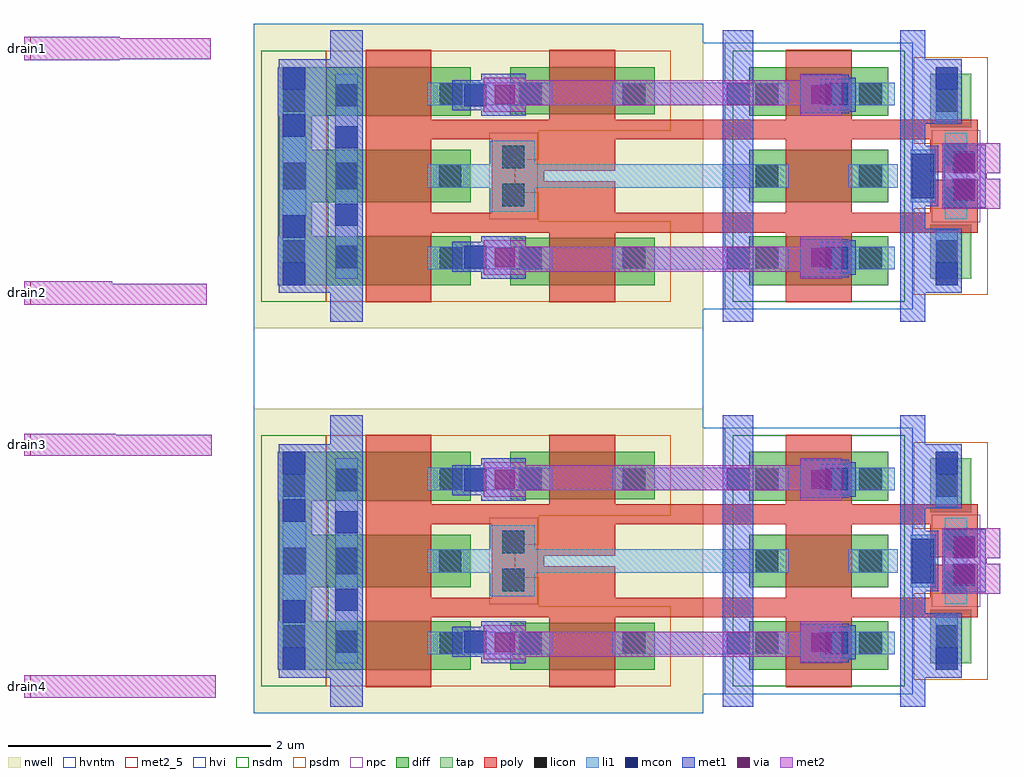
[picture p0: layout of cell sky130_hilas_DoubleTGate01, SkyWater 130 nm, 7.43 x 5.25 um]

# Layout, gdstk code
import gdstk
lib = gdstk.Library(unit=1e-6, precision=1e-09)
def R(c, l, rs):  # rectangles x0, y0, x1, y1
    for r in rs: c.add(gdstk.rectangle(r[:2], r[2:], *l))
nwell = (64, 20)
diff = (65, 20)
tap = (65, 44)
poly = (66, 20)
licon = (66, 44)
li1 = (67, 20)
mcon = (67, 44)
met1 = (68, 20)
via = (68, 44)
met2_5 = (69, 5)
met2 = (69, 20)
hvi = (75, 20)
nsdm = (93, 44)
psdm = (94, 20)
npc = (95, 20)
hvntm = (125, 20)

sky130_hilas_li2m1 = lib.new_cell('sky130_hilas_li2m1')
R(sky130_hilas_li2m1, li1, [(0.02,0.03,0.21,0.26)])
R(sky130_hilas_li2m1, mcon, [(0.03,0.06,0.2,0.23)])
R(sky130_hilas_li2m1, met1, [(0,0,0.23,0.29)])

sky130_hilas_tgatevinj01 = lib.new_cell('sky130_hilas_TgateVinj01')
R(sky130_hilas_tgatevinj01, nwell, [(0,0,3.42,1.69)])
R(sky130_hilas_tgatevinj01, diff, [(0.55,0.33,1.65,0.7), (1.95,0.33,3.05,0.69), (3.77,0.33,4.83,0.7), (0.55,1,1.65,1.36), (3.77,1,4.83,1.36)])
R(sky130_hilas_tgatevinj01, tap, [(0.18,0.33,0.55,0.7), (5.15,0.38,5.46,0.79), (0.18,0.7,0.44,1), (0.18,1,0.55,1.36)])
R(sky130_hilas_tgatevinj01, poly, [(0.85,0.2,1.35,1.44), (2.25,0.2,2.75,0.88), (4.05,0.2,4.55,1.44), (1.81,0.88,2.75,1.12), (1.81,1.12,2.21,1.16), (5.15,1.19,5.51,1.44), (0.85,1.44,5.51,1.59)])
R(sky130_hilas_tgatevinj01, licon, [(1.415,0.45,1.585,0.62), (2.02,0.45,2.19,0.62), (2.81,0.45,2.98,0.62), (3.82,0.45,3.99,0.62), (4.61,0.45,4.78,0.62), (0.62,0.46,0.79,0.63), (0.22,0.5,0.39,0.67), (5.19,0.5,5.36,0.67), (1.89,0.93,2.06,1.1), (0.225,1.06,0.395,1.23), (0.62,1.06,0.79,1.23), (1.41,1.07,1.58,1.24), (3.82,1.07,3.99,1.24), (4.61,1.07,4.78,1.24), (5.26,1.24,5.43,1.41)])
R(sky130_hilas_tgatevinj01, li1, [(0.22,0.33,0.39,0.86), (5.19,0.33,5.36,0.75), (0.62,0.38,0.79,1.31), (4.31,0.42,4.55,0.45), (1.32,0.45,2.28,0.62), (2.73,0.45,4.07,0.62), (4.31,0.45,4.88,0.62), (1.6,0.62,1.77,0.63), (4.31,0.62,4.55,0.66), (0.22,0.86,0.4,1.31), (1.8,0.89,2.14,1.07), (5.26,0.93,5.43,0.97), (5.26,0.97,5.49,1.14), (1.32,1.07,4.07,1.24), (4.53,1.07,4.9,1.24), (5.26,1.14,5.43,1.49)])
R(sky130_hilas_tgatevinj01, mcon, [(0.22,0.33,0.39,0.5), (5.19,0.33,5.36,0.5), (3.6,0.45,3.77,0.62), (4.35,0.45,4.52,0.62), (1.6,0.46,1.77,0.63), (0.22,0.69,0.39,0.86), (0.62,0.78,0.79,0.95), (5.32,0.97,5.49,1.14)])
R(sky130_hilas_tgatevinj01, met1, [(0.58,0.05,0.83,0.27), (3.57,0.05,3.8,1.7), (4.92,0.05,5.11,0.27), (0.19,0.27,0.83,0.34), (4.92,0.27,5.39,0.76), (0.18,0.34,0.83,0.7), (1.73,0.38,2.07,0.43), (4.16,0.39,4.53,0.41), (4.16,0.41,4.58,0.67), (1.51,0.43,2.07,0.45), (1.51,0.45,2.19,0.62), (1.51,0.62,2.07,0.66), (1.73,0.66,2.07,0.7), (4.16,0.67,4.53,0.68), (0.19,0.7,0.83,1.34), (4.92,0.76,5.11,1.7), (5.25,0.92,5.57,1.2), (0.58,1.34,0.83,1.69)])
R(sky130_hilas_tgatevinj01, via, [(1.835,0.465,1.985,0.615), (4.245,0.465,4.395,0.615), (5.335,0.985,5.485,1.135)])
R(sky130_hilas_tgatevinj01, met2, [(4.16,0.38,4.48,0.43), (1.75,0.41,2.07,0.43), (1.75,0.43,4.48,0.62), (1.75,0.62,2.07,0.67), (4.16,0.62,4.48,0.7), (5.24,0.91,5.68,1.14), (5.24,1.14,5.58,1.21)])
R(sky130_hilas_tgatevinj01, hvi, [(0,0,3.42,0.145), (0,0.145,5.015,1.545), (0,1.545,3.42,1.69)])
R(sky130_hilas_tgatevinj01, nsdm, [(0.055,0.205,0.55,0.7), (3.645,0.205,4.955,1.485), (0.055,0.7,0.565,1), (0.055,1,0.55,1.485)])
R(sky130_hilas_tgatevinj01, psdm, [(0.55,0.205,3.175,0.815), (5.025,0.255,5.585,0.915), (0.55,0.815,2.17,1.035), (0.55,1.035,1.775,1.485)])
R(sky130_hilas_tgatevinj01, npc, [(1.79,0.83,2.16,1.2), (5.16,1.14,5.53,1.51)])
R(sky130_hilas_tgatevinj01, hvntm, [(3.585,0.145,5.015,1.545)])
sky130_hilas_tgatevinj01.add(gdstk.Reference(sky130_hilas_li2m1, (4.98,1.1)))

sky130_hilas_doubletgate = lib.new_cell('sky130_hilas_DoubleTGate01')
R(sky130_hilas_doubletgate, met2_5, [(0,0.12,0.05,0.29), (0,1.96,0.05,2.13), (0,3.11,0.05,3.29), (0,4.97,0.05,5.15)])
R(sky130_hilas_doubletgate, met2, [(0,0.12,1.46,0.29), (0,1.96,1.43,2.12), (0,2.12,0.7,2.13), (0,3.11,1.39,3.27), (0,3.27,0.67,3.29), (0,4.97,0.73,4.98), (0,4.98,1.42,5.14), (0,5.14,0.73,5.15)])
R(sky130_hilas_doubletgate, hvi, [(1.75,2.32,5.17,2.93)])
R(sky130_hilas_doubletgate, psdm, [(3.525,1.035,3.74,1.285), (3.525,3.965,3.74,4.215)])
sky130_hilas_doubletgate.add(gdstk.Reference(sky130_hilas_tgatevinj01, (1.75,0)))
sky130_hilas_doubletgate.add(gdstk.Reference(sky130_hilas_tgatevinj01, (1.75,5.25), x_reflection=True))
sky130_hilas_doubletgate.add(gdstk.Reference(sky130_hilas_tgatevinj01, (1.75,2.32), x_reflection=True))
sky130_hilas_doubletgate.add(gdstk.Reference(sky130_hilas_tgatevinj01, (1.75,2.93)))
sky130_hilas_doubletgate.add(gdstk.Label('drain1', (0.025,5.06), layer=69, texttype=5))
sky130_hilas_doubletgate.add(gdstk.Label('drain2', (0.025,3.2), layer=69, texttype=5))
sky130_hilas_doubletgate.add(gdstk.Label('drain3', (0.025,2.045), layer=69, texttype=5))
sky130_hilas_doubletgate.add(gdstk.Label('drain4', (0.025,0.205), layer=69, texttype=5))

lib.write_gds('sky130_hilas_DoubleTGate01.gds')
